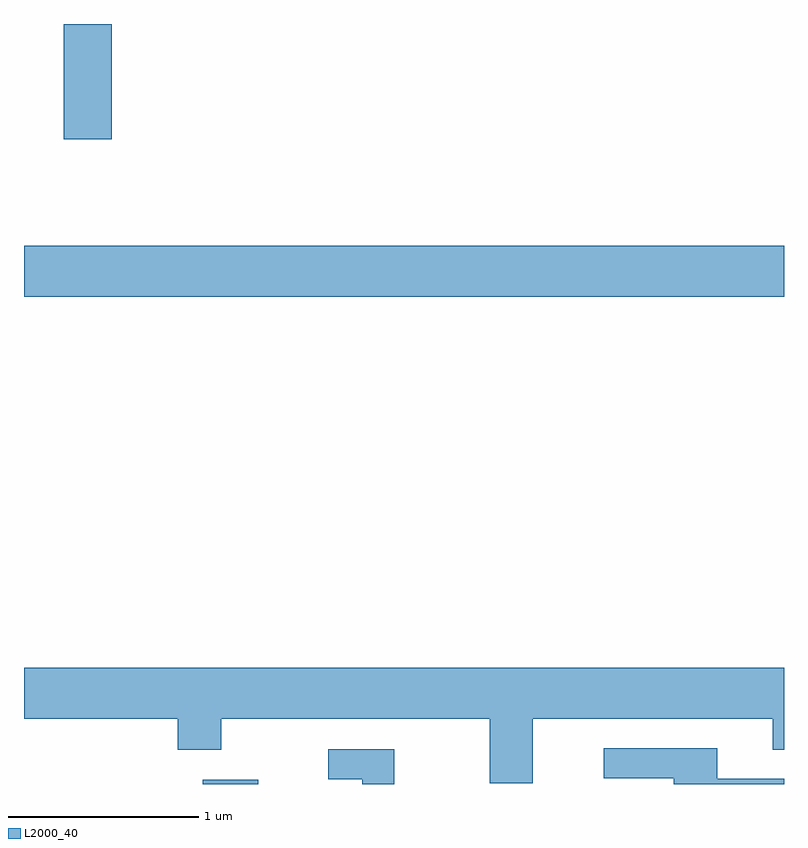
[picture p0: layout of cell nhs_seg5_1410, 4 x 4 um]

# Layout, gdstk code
import gdstk
lib = gdstk.Library(unit=1e-6, precision=1e-09)
def R(c, l, rs):  # rectangles x0, y0, x1, y1
    for r in rs: c.add(gdstk.rectangle(r[:2], r[2:], *l))
def P(c, l, *ps):  # polygons
    for p in ps: c.add(gdstk.Polygon(p, *l))
L2000_40 = (2000, 40)

nhs_seg5_1410 = lib.new_cell('nhs_seg5_1410')
R(nhs_seg5_1410, L2000_40, [(228.551,1392.072,228.844,1392.094), (227.611,1394.636,231.611,1394.904), (227.821,1395.466,228.074,1396.072)])
P(nhs_seg5_1410, L2000_40, [(227.611,1392.416),(228.421,1392.416),(228.421,1392.251),(228.649,1392.251),(228.649,1392.416),(230.061,1392.416),(230.061,1392.076),(230.289,1392.076),(230.289,1392.416),(231.551,1392.416),(231.551,1392.251),(231.611,1392.251),(231.611,1392.684),(227.611,1392.684)],
  [(231.611,1392.099),(231.259,1392.099),(231.259,1392.259),(230.663,1392.259),(230.663,1392.101),(231.031,1392.101),(231.031,1392.072),(231.611,1392.072)],
  [(229.559,1392.254),(229.213,1392.254),(229.213,1392.096),(229.391,1392.096),(229.391,1392.072),(229.559,1392.072)])

lib.write_gds('nhs_seg5_1410.gds')
